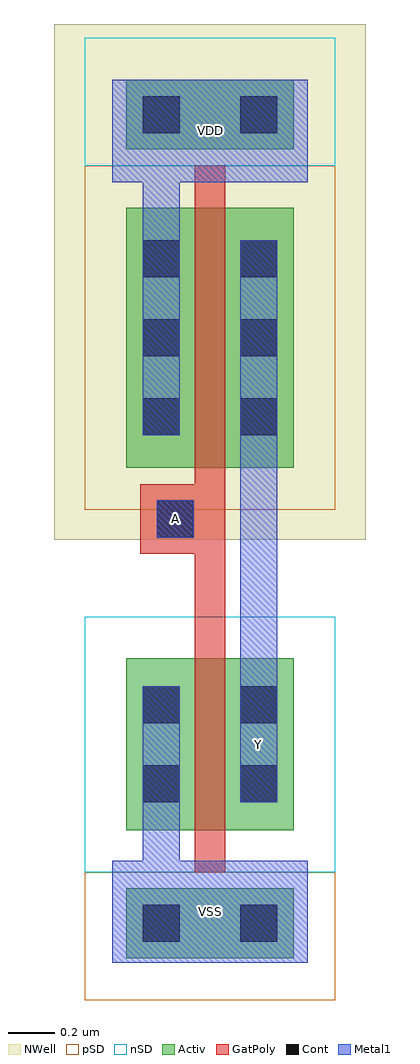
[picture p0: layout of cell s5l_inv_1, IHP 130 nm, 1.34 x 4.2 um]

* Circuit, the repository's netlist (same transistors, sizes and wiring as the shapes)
* s5l_inv_1 -- generated by design/gen_netlists.py from design/cells.json; do not edit.
* family inv, drive 1, sg13_lv devices, L=130n, supply 1.20 V.
* Y = !(A)
.subckt s5l_inv_1 A Y VDD VSS
XMN0 Y A VSS VSS sg13_lv_nmos w=740n l=130n ng=1 m=1
XMP0 Y A VDD VDD sg13_lv_pmos w=1120n l=130n ng=1 m=1
.ends s5l_inv_1

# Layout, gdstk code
import gdstk
lib = gdstk.Library(unit=1e-6, precision=1e-09)
def R(c, l, rs):  # rectangles x0, y0, x1, y1
    for r in rs: c.add(gdstk.rectangle(r[:2], r[2:], *l))
def A(c, l, x, y, w, h, nx, ny, dx, dy):  # array of equal rectangles
    R(c, l, [(x+i*dx, y+j*dy, x+i*dx+w, y+j*dy+h) for i in range(nx) for j in range(ny)])
Activ = (1, 0)
GatPoly = (5, 0)
Cont = (6, 0)
nSD = (7, 0)
Metal1 = (8, 0)
pSD = (14, 0)
NWell = (31, 0)

s5l_inv_1 = lib.new_cell('s5l_inv_1')
R(s5l_inv_1, Activ, [(0.06,-0.2,0.78,0.1), (0.06,0.35,0.78,1.09), (0.06,1.91,0.78,3.03), (0.06,3.28,0.78,3.58)])
R(s5l_inv_1, GatPoly, [(0.355,0.17,0.485,3.21), (0.12,1.54,0.485,1.84)])
A(s5l_inv_1, Cont, 0.13, 2.05, 0.16, 0.16, 1, 3, 0, 0.34)
A(s5l_inv_1, Cont, 0.55, 2.05, 0.16, 0.16, 1, 3, 0, 0.34)
R(s5l_inv_1, Cont, [(0.13,-0.13,0.29,0.03), (0.55,-0.13,0.71,0.03), (0.13,0.47,0.29,0.63), (0.55,0.47,0.71,0.63), (0.13,0.81,0.29,0.97), (0.55,0.81,0.71,0.97), (0.19,1.61,0.35,1.77), (0.13,3.35,0.29,3.51), (0.55,3.35,0.71,3.51)])
R(s5l_inv_1, nSD, [(-0.12,0.17,0.96,1.27), (-0.12,3.21,0.96,3.76)])
R(s5l_inv_1, Metal1, [(0,-0.22,0.84,0.22), (0.13,-0.22,0.29,0.97), (0.13,-0.22,0.71,0.22), (0.55,0.47,0.71,1.36), (0.55,1.2,0.71,1.36), (0.55,1.2,0.71,2.89), (0.19,1.61,0.35,1.77), (0.13,2.05,0.29,3.58), (0,3.14,0.84,3.58), (0.13,3.14,0.71,3.58)])
R(s5l_inv_1, pSD, [(-0.12,-0.38,0.96,0.17), (-0.12,1.73,0.96,3.21)])
R(s5l_inv_1, NWell, [(-0.25,1.6,1.09,3.82)])
s5l_inv_1.add(gdstk.Label('A', (0.27,1.69), layer=8, texttype=25))
s5l_inv_1.add(gdstk.Label('VSS', (0.42,0), layer=8, texttype=25))
s5l_inv_1.add(gdstk.Label('VDD', (0.42,3.36), layer=8, texttype=25))
s5l_inv_1.add(gdstk.Label('Y', (0.63,0.72), layer=8, texttype=25))

lib.write_gds('s5l_inv_1.gds')
